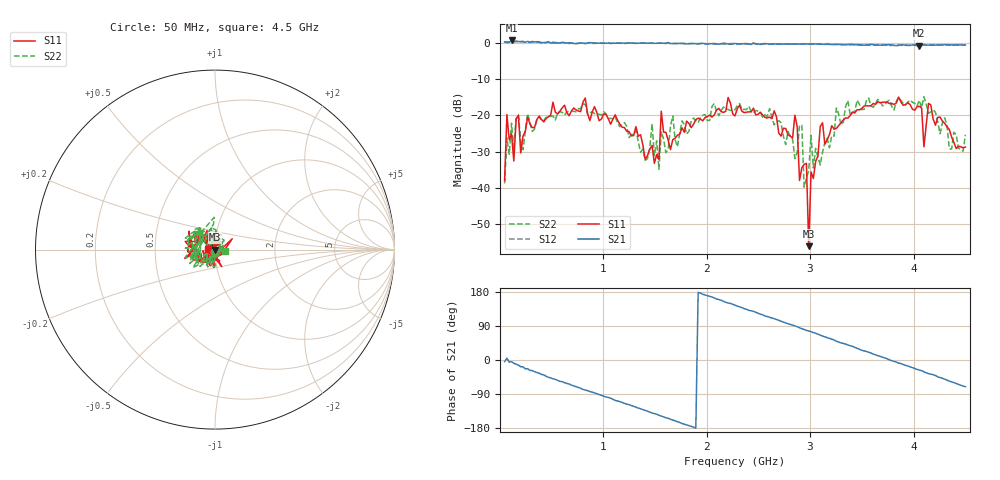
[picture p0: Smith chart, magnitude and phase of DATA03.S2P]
! Network Analyzer HP8722ES.07.74: Oct 30, 2002 Serial No. US39175660
! Hewlett-Packard
! 30 May 2012  16:28:10
! Frequency  S11  S21  S12  S22
# HZ  S  DB R  50
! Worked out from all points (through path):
!   201 points, 50 MHz to 4.5 GHz, reference 50 ohm
!   highest |S21| = 0.57 dB at 116.8 MHz (marker M1); lowest = -0.9 dB at 4.055 GHz (marker M2)
!   group delay of S21, straight-line fit = 266 ps
!   lowest |S11| = -56.1 dB at 2.987 GHz (marker M3), VSWR 1.00, Z = 49.8 + j0.0376 ohm
!   |S11| at or under -10 dB: start of sweep to end of sweep
!   |S22| runs from -39.8 to -14.9 dB; largest |S21 - S12| = 0.04
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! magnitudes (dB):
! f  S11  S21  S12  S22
! 50 MHz  -38.0  0.2  0.1  -38.8
! 72.25 MHz  -19.8  0.2  0.0  -26.3
! 116.8 MHz  -25.1  0.6  0.3  -22.2
! 806.5 MHz  -16.4  -0.1  -0.1  -16.8
! 1.407 GHz  -32.2  -0.1  -0.2  -32.4
! 1.474 GHz  -28.3  -0.1  -0.2  -22.4
! 1.541 GHz  -32.3  -0.2  -0.2  -34.9
! 1.563 GHz  -18.9  -0.2  -0.1  -24.5
! 1.652 GHz  -29.5  -0.3  -0.3  -23.0
! 2.275 GHz  -20.2  -0.3  -0.5  -18.5
! 2.853 GHz  -20.0  -0.4  -0.4  -32.0
! 2.898 GHz  -38.0  -0.4  -0.5  -22.8
! 2.965 GHz  -33.2  -0.4  -0.4  -37.3
! 2.987 GHz  -56.1  -0.4  -0.4  -35.2
! 3.009 GHz  -35.6  -0.4  -0.4  -25.6
! 3.031 GHz  -37.4  -0.4  -0.5  -34.5
! 3.12 GHz  -22.1  -0.5  -0.5  -30.2
! 3.766 GHz  -16.8  -0.6  -0.8  -15.9
! 4.055 GHz  -17.6  -0.9  -0.7  -15.9
! 4.099 GHz  -28.7  -0.6  -0.6  -14.9
! 4.144 GHz  -16.7  -0.7  -0.6  -19.5
! 4.5 GHz  -28.8  -0.7  -0.6  -25.4
